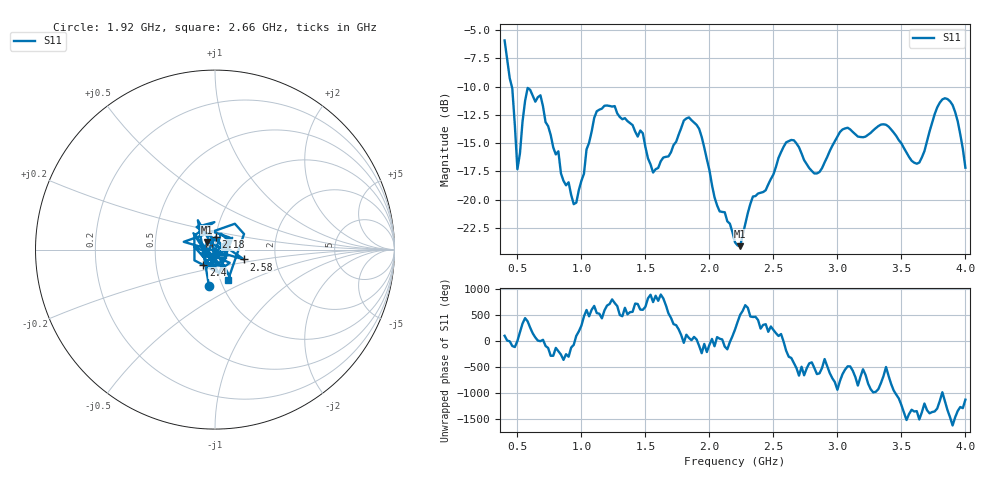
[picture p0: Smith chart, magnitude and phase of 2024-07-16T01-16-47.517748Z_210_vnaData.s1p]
!Created with skrf (http://scikit-rf.org).
# Hz S RI R 50.0
!freq ReS11 ImS11
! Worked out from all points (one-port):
!   181 points, 400 MHz to 4 GHz, reference 50 ohm
!   lowest |S11| = -24.1 dB at 2.24 GHz (marker M1), VSWR 1.13, Z = 45.5 + j3.87 ohm
!   |S11| at or under -10 dB: 456.6 MHz to end of sweep
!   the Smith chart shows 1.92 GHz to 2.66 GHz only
!   S11 on the Smith chart (normalised r, x): 1.92 GHz: 0.86, -0.37; 2.18 GHz: 1.00, +0.14; 2.4 GHz: 0.87, -0.15; 2.58 GHz: 1.38, -0.16; 2.66 GHz: 1.09, -0.38
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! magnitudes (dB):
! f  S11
! 400 MHz  -5.9
! 460 MHz  -10.2
! 500 MHz  -17.3
! 580 MHz  -10.1
! 680 MHz  -10.8
! 860 MHz  -18.3
! 960 MHz  -20.3
! 1.12 GHz  -12.2
! 1.3 GHz  -12.7
! 1.48 GHz  -14.1
! 1.56 GHz  -17.6
! 1.76 GHz  -14.2
! 1.92 GHz  -13.7
! 2.06 GHz  -20.5
! 2.18 GHz  -22.9
! 2.2 GHz  -23.8
! 2.24 GHz  -24.1
! 2.4 GHz  -19.4
! 2.58 GHz  -15.3
! 2.66 GHz  -14.7
! 2.84 GHz  -17.7
! 3.1 GHz  -13.8
! 3.38 GHz  -13.4
! 3.56 GHz  -16.2
! 3.64 GHz  -16.7
! 3.84 GHz  -11.0
! 3.92 GHz  -12.2
! 4 GHz  -17.2
